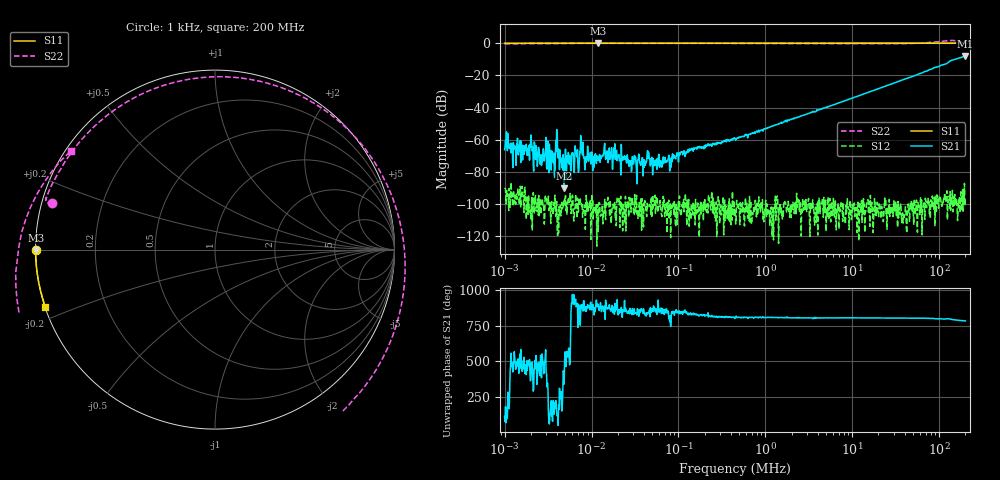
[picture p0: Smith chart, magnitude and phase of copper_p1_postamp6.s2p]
! ListType=Log
# MHZ S RI R 50
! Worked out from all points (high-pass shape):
!   1000 points, 1 kHz to 200 MHz, reference 50 ohm
!   highest |S21| = -8.01 dB at 200 MHz (marker M1); lowest = -90.0 dB at 4.836 kHz (marker M2)
!   |S21| within 3 dB of the highest: 134.6 MHz to end of sweep
!   lowest |S11| = 0.0 dB at 11.95 kHz (marker M3), VSWR 446.13, Z = 0.112 - j0.0542 ohm
!   |S11| at or under -10 dB: nowhere
!   |S22| runs from -0.5 to 1.7 dB; largest |S21 - S12| = 0.4
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0.001  -0.9967 -0.000555  -0.000189 0.000458  -1.15e-05 -2.99e-05  -0.9089 0.26
0.0019822  -0.9976 -5.08e-05  0.000587 2.94e-05  6.1e-06 7e-07  -0.9257 0.2581
0.0025309  -0.9971 -3.03e-05  0.000124 0.000156  -8.7e-06 -1.12e-05  -0.9309 0.2607
0.0036072  -0.9977 -0.0005  -0.000232 -0.000221  -8e-07 -4.6e-06  -0.9369 0.2652
0.0040759  -0.9977 -0.000296  -0.000191 0.000295  -7e-07 8e-07  -0.9384 0.2671
0.0048363  -0.9974 -0.000238  2.95e-05 -1.11e-05  3e-07 -9.4e-06  -0.9399 0.2698
0.0076941  -0.9977 -0.000182  -0.000602 0.000308  -2.1e-06 8.4e-06  -0.9422 0.2759
0.008694  -0.9978 -9.38e-05  -0.000133 0.000146  1.27e-05 -1.41e-05  -0.9424 0.2771
0.011945  -0.9955 -0.00216  -0.000215 7.15e-05  -1.2e-06 6e-07  -0.9435 0.2782
0.0141734  -0.9977 -0.000165  -0.000698 0.000345  -1.33e-05 -5.2e-06  -0.9426 0.2814
0.0584804  -0.9977 -0.000134  -0.000144 -8.89e-05  1.1e-06 -7.5e-06  -0.9406 0.2882
0.4499541  -0.9976 -0.000791  2.66e-05 0.0011  1.8e-06 7.1e-06  -0.9349 0.303
3.419952  -0.9978 -0.00574  0.00053 0.00709  -1.8e-06 -7.2e-06  -0.8867 0.4028
12.03851  -0.9982 -0.0199  0.00158 0.0236  -7.5e-06 -3e-07  -0.7122 0.6466
26.31347  -0.9978 -0.0431  0.0039 0.0503  3.6e-06 -3.5e-06  -0.3118 0.9064
50.9003  -0.9956 -0.0826  0.0098 0.095  -1e-07 -2.3e-06  0.4925 0.8486
81.97236  -0.9906 -0.1322  0.0205 0.1549  5.3e-06 -7.1e-06  1.057 -0.0223
103.3922  -0.9852 -0.1662  0.034 0.1975  -9.6e-06 -1.12e-05  0.8402 -0.7545
128.8255  -0.9768 -0.2062  0.0472 0.2566  -1.25e-05 -1.01e-05  0.0311 -1.195
145.5678  -0.9715 -0.233  0.0887 0.2913  5.8e-06 -1.22e-05  -0.5687 -1.06
164.4859  -0.9628 -0.262  0.1185 0.3127  4.6e-06 -3.3e-06  -1.028 -0.5582
200  -0.9464 -0.3171  0.1719 0.3587  -1.29e-05 -6.6e-06  -0.8026 0.5506
